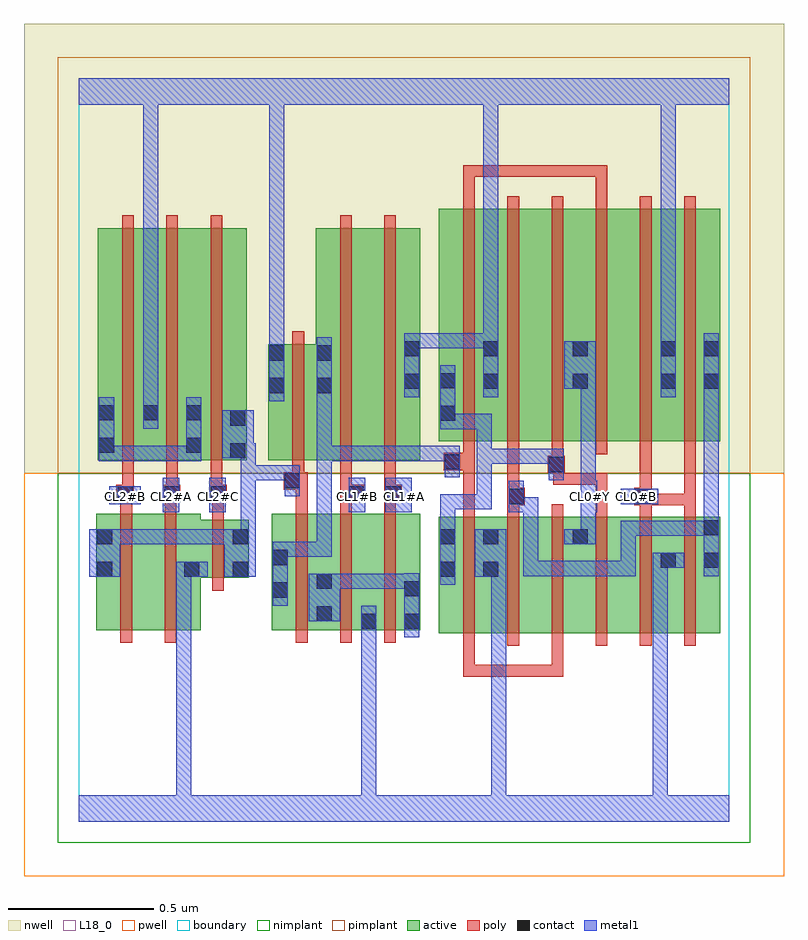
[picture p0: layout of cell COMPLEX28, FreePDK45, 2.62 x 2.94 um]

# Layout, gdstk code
import gdstk
lib = gdstk.Library(unit=1e-6, precision=1e-09)
def R(c, l, rs):  # rectangles x0, y0, x1, y1
    for r in rs: c.add(gdstk.rectangle(r[:2], r[2:], *l))
def A(c, l, x, y, w, h, nx, ny, dx, dy):  # array of equal rectangles
    R(c, l, [(x+i*dx, y+j*dy, x+i*dx+w, y+j*dy+h) for i in range(nx) for j in range(ny)])
active = (1, 0)
pwell = (2, 0)
nwell = (3, 0)
nimplant = (4, 0)
pimplant = (5, 0)
poly = (9, 0)
contact = (10, 0)
metal1 = (11, 0)
L18_0 = (18, 0)
boundary = (235, 0)

complex28 = lib.new_cell('COMPLEX28')
R(complex28, active, [(1.24,0.65,1.448,1.05), (1.388,0.65,1.448,1.05), (1.388,0.65,1.572,1.05), (1.572,0.65,1.756,1.05), (1.696,0.65,1.876,1.05), (1.876,0.65,2.06,1.05), (2,0.65,2.208,1.05), (2,0.65,2.06,1.05), (0.06,0.66,0.24,1.06), (0.24,0.66,0.42,1.06), (0.36,0.66,0.42,0.9), (0.664,0.66,0.876,1.06), (0.816,0.66,0.876,1.06), (0.816,0.66,1.028,1.06), (0.968,0.66,1.176,1.06), (0.968,0.66,1.028,1.06), (1.116,0.66,1.176,1.06), (0.06,0.756,0.12,1.06), (0.664,0.756,0.724,1.06), (1.24,0.756,1.3,1.05), (1.696,0.756,1.756,1.05), (2.148,0.756,2.208,1.05), (0.36,0.84,0.586,1.04), (0.526,0.84,0.586,1.04), (0.066,1.244,0.126,2.044), (0.066,1.244,0.278,2.044), (0.218,1.244,0.426,2.044), (0.366,1.244,0.426,2.044), (0.366,1.244,0.578,2.044), (0.518,1.244,0.578,2.044), (0.652,1.244,0.712,1.644), (0.652,1.244,0.876,1.644), (0.816,1.244,0.996,2.044), (0.996,1.244,1.176,2.044), (1.116,1.244,1.176,2.044), (0.816,1.266,0.876,1.662), (1.24,1.31,1.448,2.11), (1.24,1.31,1.3,2.044), (1.388,1.31,1.572,2.11), (1.572,1.31,1.756,2.11), (1.696,1.31,1.876,2.11), (1.696,1.31,1.756,2.044), (1.876,1.31,2.06,2.11), (2,1.31,2.06,2.11), (2,1.31,2.208,2.11), (2.148,1.31,2.208,2.11), (0.218,1.338,0.278,2.044), (1.388,1.458,1.448,2.11)])
R(complex28, pwell, [(-0.188,-0.188,2.428,1.2)])
R(complex28, nwell, [(-0.188,1.2,2.428,2.748)])
R(complex28, nimplant, [(-0.072,-0.072,2.312,1.2)])
R(complex28, pimplant, [(-0.072,1.2,2.312,2.632)])
A(complex28, poly, 1.324, 0.606, 0.04, 0.488, 6, 1, 0.152, 0)
A(complex28, poly, 0.748, 0.616, 0.04, 0.488, 3, 1, 0.152, 0)
A(complex28, poly, 0.13, 1.1, 0.06, 0.06, 3, 1, 0.16, 0)
A(complex28, poly, 0.15, 1.12, 0.04, 0.12, 3, 1, 0.152, 0)
A(complex28, poly, 0.15, 1.2, 0.04, 0.888, 3, 1, 0.152, 0)
A(complex28, poly, 1.324, 1.266, 0.04, 0.888, 6, 1, 0.152, 0)
R(complex28, poly, [(1.324,0.5,1.364,0.54), (1.324,0.5,1.364,0.54), (1.324,0.5,1.364,0.54), (1.324,0.5,1.364,0.646), (1.324,0.5,1.548,0.54), (1.508,0.5,1.548,0.54), (1.508,0.5,1.548,0.54), (1.508,0.5,1.548,0.54), (1.508,0.5,1.668,0.54), (1.628,0.5,1.668,0.54), (1.628,0.5,1.668,0.646), (0.144,0.616,0.184,1.104), (0.296,0.616,0.336,1.104), (0.46,0.796,0.5,1.084), (0.46,1.044,0.5,1.14), (1.324,1.054,1.364,1.25), (1.476,1.054,1.516,1.13), (1.78,1.054,1.82,1.2), (1.932,1.054,1.972,1.13), (2.084,1.054,2.124,1.13), (0.144,1.064,0.184,1.14), (0.296,1.064,0.336,1.14), (0.748,1.064,0.788,1.184), (0.9,1.064,0.94,1.14), (1.052,1.064,1.092,1.14), (1.476,1.09,1.536,1.15), (1.912,1.09,1.972,1.15), (1.932,1.09,1.972,1.13), (1.932,1.09,1.972,1.13), (1.932,1.09,1.972,1.13), (1.932,1.09,1.972,1.13), (1.932,1.09,2.124,1.13), (2.084,1.09,2.124,1.306), (2.084,1.09,2.124,1.13), (2.084,1.09,2.124,1.13), (2.084,1.09,2.124,1.13), (0.144,1.1,0.184,1.14), (0.144,1.1,0.184,1.14), (0.9,1.1,0.986,1.16), (1.052,1.1,1.112,1.16), (1.476,1.11,1.516,1.15), (1.476,1.11,1.516,1.15), (1.476,1.11,1.516,1.306), (1.932,1.11,1.972,1.306), (0.302,1.12,0.342,1.16), (0.302,1.12,0.342,1.16), (0.454,1.12,0.494,1.16), (0.454,1.12,0.494,1.16), (0.9,1.12,0.94,1.16), (0.9,1.12,0.94,1.16), (0.9,1.12,0.94,1.24), (1.052,1.12,1.092,1.16), (1.052,1.12,1.092,1.16), (1.052,1.12,1.092,1.24), (0.706,1.144,0.788,1.204), (1.634,1.16,1.82,1.2), (1.634,1.16,1.674,1.24), (1.78,1.16,1.82,1.2), (1.78,1.16,1.82,1.2), (1.78,1.16,1.82,1.2), (0.736,1.164,0.776,1.204), (0.736,1.164,0.776,1.204), (0.736,1.164,0.776,1.24), (0.736,1.2,0.776,1.688), (0.9,1.2,0.94,2.088), (1.052,1.2,1.092,2.088), (1.614,1.2,1.674,1.26), (1.634,1.2,1.674,1.24), (1.256,1.21,1.364,1.27), (1.324,1.21,1.364,1.25), (1.324,1.21,1.364,1.25), (1.628,1.22,1.668,1.306), (1.324,1.23,1.364,1.306), (1.324,2.114,1.364,2.26), (1.78,2.114,1.82,2.26), (1.324,2.22,1.364,2.26), (1.324,2.22,1.364,2.26), (1.324,2.22,1.364,2.26), (1.324,2.22,1.548,2.26), (1.508,2.22,1.548,2.26), (1.508,2.22,1.548,2.26), (1.508,2.22,1.548,2.26), (1.508,2.22,1.714,2.26), (1.674,2.22,1.714,2.26), (1.674,2.22,1.82,2.26), (1.78,2.22,1.82,2.26), (1.78,2.22,1.82,2.26), (1.78,2.22,1.82,2.26)])
A(complex28, contact, 0.134, 1.104, 0.052, 0.052, 3, 1, 0.16, 0)
R(complex28, contact, [(0.972,0.664,1.024,0.716), (1.12,0.664,1.172,0.716), (0.82,0.69,0.872,0.742), (0.668,0.772,0.72,0.824), (1.12,0.776,1.172,0.828), (0.82,0.802,0.872,0.854), (0.064,0.844,0.116,0.896), (0.364,0.844,0.416,0.896), (0.53,0.844,0.582,0.896), (1.244,0.844,1.296,0.896), (1.392,0.844,1.444,0.896), (2.004,0.874,2.056,0.926), (2.152,0.874,2.204,0.926), (0.668,0.884,0.72,0.936), (0.064,0.956,0.116,1.008), (0.53,0.956,0.582,1.008), (1.244,0.956,1.296,1.008), (1.392,0.956,1.444,1.008), (1.7,0.956,1.752,1.008), (2.152,0.986,2.204,1.038), (1.48,1.094,1.532,1.146), (1.916,1.094,1.968,1.146), (0.93,1.104,0.982,1.156), (1.056,1.104,1.108,1.156), (0.71,1.148,0.762,1.2), (1.618,1.204,1.67,1.256), (1.26,1.214,1.312,1.266), (0.522,1.252,0.574,1.304), (0.07,1.27,0.122,1.322), (0.37,1.27,0.422,1.322), (0.522,1.364,0.574,1.416), (1.244,1.38,1.296,1.432), (0.07,1.382,0.122,1.434), (0.222,1.382,0.274,1.434), (0.37,1.382,0.422,1.434), (0.656,1.476,0.708,1.528), (0.82,1.476,0.872,1.528), (1.12,1.49,1.172,1.542), (1.392,1.49,1.444,1.542), (1.7,1.49,1.752,1.542), (2.004,1.49,2.056,1.542), (2.152,1.49,2.204,1.542), (1.244,1.492,1.296,1.544), (0.656,1.588,0.708,1.64), (0.82,1.588,0.872,1.64), (1.12,1.602,1.172,1.654), (1.392,1.602,1.444,1.654), (1.7,1.602,1.752,1.654), (2.004,1.602,2.056,1.654), (2.152,1.602,2.204,1.654)])
R(complex28, metal1, [(0,0,2.24,0.092), (0.336,0.04,0.388,0.092), (0.336,0.04,0.388,0.092), (0.336,0.04,0.388,0.092), (0.336,0.04,0.388,0.092), (0.336,0.04,0.388,0.092), (0.336,0.04,0.388,0.092), (0.336,0.04,0.388,0.092), (0.336,0.04,0.388,0.092), (0.336,0.04,0.388,0.092), (0.336,0.04,0.388,0.092), (0.336,0.04,0.388,0.092), (0.336,0.04,0.388,0.092), (0.336,0.04,0.388,0.896), (0.972,0.04,1.024,0.092), (0.972,0.04,1.024,0.092), (0.972,0.04,1.024,0.092), (0.972,0.04,1.024,0.092), (0.972,0.04,1.024,0.092), (0.972,0.04,1.024,0.092), (0.972,0.04,1.024,0.688), (1.42,0.04,1.472,0.092), (1.42,0.04,1.472,0.092), (1.42,0.04,1.472,0.092), (1.42,0.04,1.472,0.092), (1.42,0.04,1.472,0.092), (1.42,0.04,1.472,0.092), (1.42,0.04,1.472,0.092), (1.42,0.04,1.472,0.092), (1.42,0.04,1.472,0.896), (1.976,0.04,2.028,0.092), (1.976,0.04,2.028,0.092), (1.976,0.04,2.028,0.092), (1.976,0.04,2.028,0.092), (1.976,0.04,2.028,0.092), (1.976,0.04,2.028,0.092), (1.976,0.04,2.028,0.092), (1.976,0.04,2.028,0.092), (1.976,0.04,2.028,0.926), (0.972,0.636,1.024,0.688), (0.972,0.636,1.024,0.688), (0.972,0.636,1.024,0.688), (0.972,0.636,1.024,0.688), (0.972,0.636,1.024,0.688), (0.972,0.636,1.024,0.688), (0.972,0.636,1.024,0.744), (1.12,0.636,1.172,0.856), (0.792,0.69,0.9,0.854), (0.668,0.744,0.72,0.964), (0.848,0.802,0.9,0.854), (0.848,0.802,0.9,0.854), (0.848,0.802,1.062,0.854), (1.01,0.802,1.062,0.854), (1.01,0.802,1.062,0.854), (1.01,0.802,1.062,0.854), (1.01,0.802,1.062,0.854), (1.01,0.802,1.062,0.854), (1.01,0.802,1.172,0.854), (1.244,0.816,1.296,1.036), (0.036,0.844,0.144,1.008), (0.336,0.844,0.444,0.896), (0.502,0.844,0.61,1.008), (1.364,0.844,1.472,1.008), (1.42,0.844,1.472,0.896), (1.42,0.844,1.472,0.896), (1.42,0.844,1.472,0.896), (1.42,0.844,1.472,0.896), (1.53,0.846,1.582,0.898), (1.53,0.846,1.692,0.898), (1.53,0.846,1.582,1.118), (1.64,0.846,1.692,0.898), (1.64,0.846,1.692,0.898), (1.64,0.846,1.692,0.898), (1.64,0.846,1.808,0.898), (1.756,0.846,1.808,0.898), (1.756,0.846,1.918,0.898), (1.866,0.846,1.918,0.898), (1.866,0.846,1.918,1.036), (2.152,0.846,2.204,1.066), (1.976,0.874,2.028,0.926), (1.976,0.874,2.028,0.926), (1.976,0.874,2.028,0.926), (1.976,0.874,2.028,0.926), (1.976,0.874,2.084,0.926), (0.668,0.912,0.72,0.964), (0.668,0.912,0.72,0.964), (0.668,0.912,0.872,0.964), (0.82,0.912,0.872,0.964), (0.82,0.912,0.872,1.294), (0.092,0.956,0.144,1.008), (0.092,0.956,0.144,1.008), (0.092,0.956,0.278,1.008), (0.226,0.956,0.278,1.008), (0.226,0.956,0.278,1.008), (0.226,0.956,0.278,1.008), (0.226,0.956,0.436,1.008), (0.384,0.956,0.436,1.008), (0.384,0.956,0.554,1.008), (0.502,0.956,0.554,1.008), (0.502,0.956,0.554,1.008), (0.558,0.956,0.61,1.228), (1.672,0.956,1.78,1.008), (1.728,0.956,1.78,1.118), (1.244,0.984,1.296,1.128), (1.866,0.984,1.918,1.036), (1.866,0.984,1.918,1.036), (1.866,0.984,1.918,1.036), (1.866,0.984,2.094,1.036), (2.042,0.984,2.094,1.036), (2.042,0.984,2.204,1.036), (2.152,0.984,2.204,1.036), (2.152,0.984,2.204,1.036), (2.152,1.014,2.204,1.514), (2.152,1.014,2.204,1.066), (2.152,1.014,2.204,1.066), (2.152,1.014,2.204,1.066), (2.152,1.014,2.204,1.066), (0.29,1.066,0.346,1.184), (0.45,1.066,0.506,1.184), (0.93,1.066,0.986,1.184), (1.056,1.066,1.146,1.184), (1.48,1.066,1.532,1.174), (1.48,1.066,1.582,1.118), (1.53,1.066,1.582,1.118), (1.53,1.066,1.582,1.118), (1.53,1.066,1.582,1.118), (1.728,1.066,1.786,1.174), (1.244,1.076,1.296,1.128), (1.244,1.076,1.296,1.128), (1.244,1.076,1.296,1.128), (1.244,1.076,1.422,1.128), (1.37,1.076,1.422,1.128), (1.37,1.076,1.422,1.284), (0.106,1.094,0.214,1.156), (1.866,1.094,1.996,1.146), (0.71,1.12,0.762,1.228), (1.728,1.122,1.78,1.174), (1.728,1.122,1.78,1.174), (1.728,1.122,1.78,1.542), (0.558,1.176,0.61,1.228), (0.558,1.176,0.734,1.228), (0.558,1.176,0.61,1.304), (0.682,1.176,0.734,1.228), (0.682,1.176,0.762,1.228), (1.618,1.176,1.67,1.284), (1.26,1.186,1.312,1.294), (1.37,1.232,1.422,1.284), (1.37,1.232,1.532,1.284), (1.37,1.232,1.422,1.404), (1.48,1.232,1.532,1.284), (1.48,1.232,1.532,1.284), (1.48,1.232,1.532,1.284), (1.48,1.232,1.67,1.284), (0.07,1.242,0.122,1.462), (0.07,1.242,0.122,1.294), (0.07,1.242,0.122,1.294), (0.07,1.242,0.254,1.294), (0.202,1.242,0.254,1.294), (0.202,1.242,0.254,1.294), (0.202,1.242,0.254,1.294), (0.202,1.242,0.422,1.294), (0.37,1.242,0.422,1.462), (0.82,1.242,0.872,1.294), (0.82,1.242,0.872,1.294), (0.82,1.242,0.872,1.294), (0.82,1.242,0.872,1.294), (0.82,1.242,0.872,1.294), (0.82,1.242,1.01,1.294), (0.82,1.242,0.872,1.5), (0.958,1.242,1.01,1.294), (0.958,1.242,1.01,1.294), (0.958,1.242,1.01,1.294), (0.958,1.242,1.172,1.294), (1.12,1.242,1.172,1.294), (1.12,1.242,1.172,1.294), (1.12,1.242,1.172,1.294), (1.12,1.242,1.312,1.294), (0.494,1.252,0.602,1.416), (0.55,1.252,0.602,1.304), (0.55,1.252,0.61,1.304), (1.244,1.352,1.296,1.572), (1.244,1.352,1.422,1.404), (1.37,1.352,1.422,1.404), (1.37,1.352,1.422,1.404), (1.37,1.352,1.422,1.404), (0.222,1.354,0.274,1.462), (0.222,1.41,0.274,2.52), (0.656,1.448,0.708,1.668), (0.82,1.448,0.872,1.668), (1.12,1.462,1.172,1.682), (1.392,1.462,1.444,1.682), (2.004,1.462,2.056,1.682), (2.152,1.462,2.204,1.682), (1.672,1.49,1.78,1.654), (0.656,1.616,0.708,2.52), (1.12,1.63,1.306,1.682), (1.254,1.63,1.306,1.682), (1.254,1.63,1.306,1.682), (1.254,1.63,1.306,1.682), (1.254,1.63,1.444,1.682), (1.392,1.63,1.444,1.682), (1.392,1.63,1.444,1.682), (1.392,1.63,1.444,1.682), (1.392,1.63,1.444,1.682), (1.392,1.63,1.444,1.682), (1.392,1.63,1.444,1.682), (1.392,1.63,1.444,2.52), (2.004,1.63,2.056,1.682), (2.004,1.63,2.056,1.682), (2.004,1.63,2.056,1.682), (2.004,1.63,2.056,1.682), (2.004,1.63,2.056,1.682), (2.004,1.63,2.056,1.682), (2.004,1.63,2.056,2.52), (0,2.468,2.24,2.56), (0.222,2.468,0.274,2.52), (0.222,2.468,0.274,2.52), (0.222,2.468,0.274,2.52), (0.222,2.468,0.274,2.52), (0.222,2.468,0.274,2.52), (0.222,2.468,0.274,2.52), (0.222,2.468,0.274,2.52), (0.222,2.468,0.274,2.52), (0.656,2.468,0.708,2.52), (0.656,2.468,0.708,2.52), (0.656,2.468,0.708,2.52), (0.656,2.468,0.708,2.52), (0.656,2.468,0.708,2.52), (0.656,2.468,0.708,2.52), (0.656,2.468,0.708,2.52), (0.656,2.468,0.708,2.52), (0.656,2.468,0.708,2.52), (0.656,2.468,0.708,2.52), (0.656,2.468,0.708,2.52), (0.656,2.468,0.708,2.52), (0.656,2.468,0.708,2.52), (0.656,2.468,0.708,2.52), (0.656,2.468,0.708,2.52), (0.656,2.468,0.708,2.52), (1.392,2.468,1.444,2.52), (1.392,2.468,1.444,2.52), (2.004,2.468,2.056,2.52), (2.004,2.468,2.056,2.52)])
A(complex28, L18_0, 0.134, 1.094, 0.052, 0.052, 3, 1, 0.16, 0)
R(complex28, L18_0, [(0,0,2.24,0.092), (0.336,0.04,0.388,0.092), (0.336,0.04,0.388,0.092), (0.336,0.04,0.388,0.092), (0.336,0.04,0.388,0.092), (0.336,0.04,0.388,0.092), (0.336,0.04,0.388,0.092), (0.336,0.04,0.388,0.092), (0.336,0.04,0.388,0.092), (0.336,0.04,0.388,0.092), (0.336,0.04,0.388,0.092), (0.336,0.04,0.388,0.092), (0.336,0.04,0.388,0.092), (0.336,0.04,0.388,0.896), (0.972,0.04,1.024,0.092), (0.972,0.04,1.024,0.092), (0.972,0.04,1.024,0.092), (0.972,0.04,1.024,0.092), (0.972,0.04,1.024,0.092), (0.972,0.04,1.024,0.092), (0.972,0.04,1.024,0.688), (1.42,0.04,1.472,0.092), (1.42,0.04,1.472,0.092), (1.42,0.04,1.472,0.092), (1.42,0.04,1.472,0.092), (1.42,0.04,1.472,0.092), (1.42,0.04,1.472,0.092), (1.42,0.04,1.472,0.092), (1.42,0.04,1.472,0.092), (1.42,0.04,1.472,0.896), (1.976,0.04,2.028,0.092), (1.976,0.04,2.028,0.092), (1.976,0.04,2.028,0.092), (1.976,0.04,2.028,0.092), (1.976,0.04,2.028,0.092), (1.976,0.04,2.028,0.092), (1.976,0.04,2.028,0.092), (1.976,0.04,2.028,0.092), (1.976,0.04,2.028,0.926), (0.972,0.636,1.024,0.744), (0.972,0.636,1.024,0.688), (0.972,0.636,1.024,0.688), (0.972,0.636,1.024,0.688), (0.972,0.636,1.024,0.688), (0.972,0.636,1.024,0.688), (0.972,0.636,1.024,0.688), (0.336,0.844,0.444,0.896), (1.364,0.844,1.472,1.008), (1.42,0.844,1.472,0.896), (1.42,0.844,1.472,0.896), (1.42,0.844,1.472,0.896), (1.42,0.844,1.472,0.896), (1.976,0.874,2.028,0.926), (1.976,0.874,2.028,0.926), (1.976,0.874,2.028,0.926), (1.976,0.874,2.028,0.926), (1.976,0.874,2.084,0.926), (1.672,0.956,1.78,1.008), (1.728,0.956,1.78,1.118), (0.29,1.066,0.346,1.184), (0.45,1.066,0.506,1.184), (0.93,1.066,0.986,1.184), (1.056,1.066,1.146,1.184), (1.728,1.066,1.786,1.174), (0.106,1.094,0.214,1.156), (0.934,1.094,0.986,1.146), (1.094,1.094,1.146,1.146), (1.734,1.094,1.786,1.146), (1.866,1.094,1.996,1.146), (1.894,1.094,1.946,1.146), (1.728,1.122,1.78,1.174), (1.728,1.122,1.78,1.174), (1.728,1.122,1.78,1.542), (0.222,1.354,0.274,1.462), (0.222,1.41,0.274,2.52), (0.656,1.448,0.708,1.668), (1.12,1.462,1.172,1.682), (1.392,1.462,1.444,1.682), (2.004,1.462,2.056,1.682), (1.672,1.49,1.78,1.654), (0.656,1.616,0.708,2.52), (1.12,1.63,1.306,1.682), (1.254,1.63,1.306,1.682), (1.254,1.63,1.306,1.682), (1.254,1.63,1.306,1.682), (1.254,1.63,1.444,1.682), (1.392,1.63,1.444,1.682), (1.392,1.63,1.444,1.682), (1.392,1.63,1.444,1.682), (1.392,1.63,1.444,1.682), (1.392,1.63,1.444,1.682), (1.392,1.63,1.444,1.682), (1.392,1.63,1.444,2.52), (2.004,1.63,2.056,1.682), (2.004,1.63,2.056,1.682), (2.004,1.63,2.056,1.682), (2.004,1.63,2.056,1.682), (2.004,1.63,2.056,1.682), (2.004,1.63,2.056,1.682), (2.004,1.63,2.056,2.52), (0,2.468,2.24,2.56), (0.222,2.468,0.274,2.52), (0.222,2.468,0.274,2.52), (0.222,2.468,0.274,2.52), (0.222,2.468,0.274,2.52), (0.222,2.468,0.274,2.52), (0.222,2.468,0.274,2.52), (0.222,2.468,0.274,2.52), (0.222,2.468,0.274,2.52), (0.656,2.468,0.708,2.52), (0.656,2.468,0.708,2.52), (0.656,2.468,0.708,2.52), (0.656,2.468,0.708,2.52), (0.656,2.468,0.708,2.52), (0.656,2.468,0.708,2.52), (0.656,2.468,0.708,2.52), (0.656,2.468,0.708,2.52), (0.656,2.468,0.708,2.52), (0.656,2.468,0.708,2.52), (0.656,2.468,0.708,2.52), (0.656,2.468,0.708,2.52), (0.656,2.468,0.708,2.52), (0.656,2.468,0.708,2.52), (0.656,2.468,0.708,2.52), (0.656,2.468,0.708,2.52), (1.392,2.468,1.444,2.52), (1.392,2.468,1.444,2.52), (2.004,2.468,2.056,2.52), (2.004,2.468,2.056,2.52)])
R(complex28, boundary, [(0,0,2.24,2.56)])
complex28.add(gdstk.Label('CL0#B', (1.92,1.12), layer=11, texttype=0))
complex28.add(gdstk.Label('CL0#Y', (1.76,1.12), layer=11, texttype=0))
complex28.add(gdstk.Label('CL1#A', (1.12,1.12), layer=11, texttype=0))
complex28.add(gdstk.Label('CL1#B', (0.96,1.12), layer=11, texttype=0))
complex28.add(gdstk.Label('CL2#A', (0.32,1.12), layer=11, texttype=0))
complex28.add(gdstk.Label('CL2#B', (0.16,1.12), layer=11, texttype=0))
complex28.add(gdstk.Label('CL2#C', (0.48,1.12), layer=11, texttype=0))

lib.write_gds('COMPLEX28.gds')
